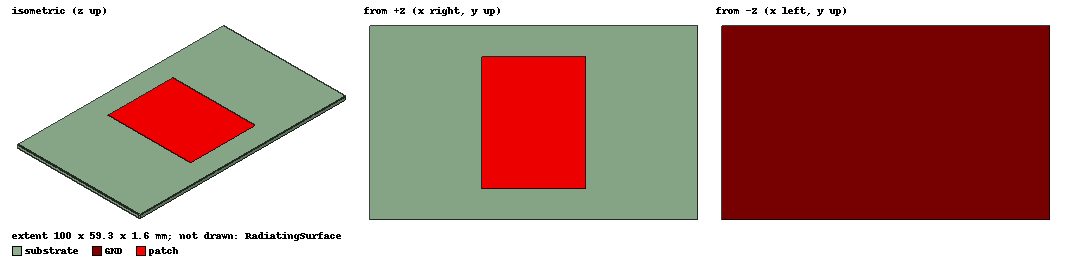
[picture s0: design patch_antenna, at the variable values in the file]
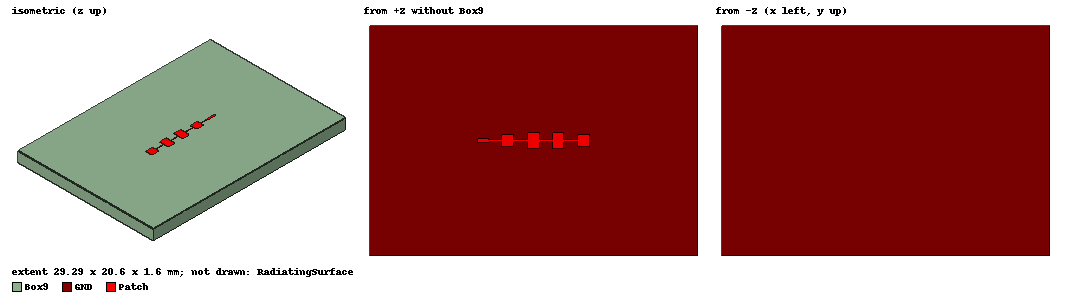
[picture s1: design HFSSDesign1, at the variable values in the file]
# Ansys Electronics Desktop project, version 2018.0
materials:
  vacuum: permittivity=1
  Isola FR408: permittivity=3.66 dielectric_loss_tangent=0.012
  isola FR408 @2GHz: permittivity=3.67 dielectric_loss_tangent=0.012 delta_H_freq=2000000000
  copper: permeability=0.999991 conductivity=58000000
  isola FR408 @100GHz: permittivity=3.72 dielectric_loss_tangent=0.0072 delta_H_freq=100000000000

design patch_antenna (HFSS, DrivenModal, model units mm)
options: open_region{BoundaryType=0 OpFreq=2.45GHz}
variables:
  sub_len_x = 100mm
  sub_width_y = 59.3mm
  sub_h = 1.6mm
  patch_len_x = 31.5mm
  patch_width_y = 40.1mm
  width_50 = 3.475mm
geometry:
  RadiatingSurface [vacuum] = region(absolute_offset=40.816327mm on all sides)
  substrate [isola FR408 @2GHz] = box(corner=(-sub_len_x/2, -sub_width_y/2, 0mm), size=(sub_len_x, sub_width_y, sub_h))
  GND [isola FR408 @2GHz] = object_from(substrate.face(-z))
  patch = rectangle(corner=(-patch_len_x/2, -patch_width_y/2, sub_h), x_size=patch_len_x, y_size=patch_width_y)
  l_port = rectangle(corner=(patch_len_x/2, -width_50/2, 0mm), y_size=width_50, z_size=sub_h)
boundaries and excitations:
  AutoOpen1: Radiation Objects=RadiatingSurface
  FiniteCond1: Finite Conductivity Faces=GND.face UseMaterial Material=copper IsInternal
  FiniteCond2: Finite Conductivity Objects=patch UseMaterial Material=copper IsInternal
  1: Lumped Port Objects=l_port Modes{Mode1{IntLine{l_port.edge(z at corner) at 0.442 along -> l_port.edge(z opposite corner) at 0.558 along} CharImp=Zpi RenormImp=50ohm}} Impedance=156ohm
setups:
  Auto1: HfssDriven Frequency=2.45GHz MaxDeltaS=0.02 MaximumPasses=15 MinimumPasses=1 MinimumConvergedPasses=1 PercentRefinement=30 MeshLink{LinkID=5 PathRelativeTo=TargetProject ApplyMeshOp AdaptPort} BasisOrder=1 PortAccuracy=2
    sweep Sweep: 1GHz to 10GHz, 181 points; Type=Interpolating InterpTolerance=0.5 InterpMaxSolns=250 InterpUsePortImped=false PassivityErrorTolerance=0.0001
    sweep single_point: point 2.45GHz; SaveSingleField Type=Discrete SaveFields
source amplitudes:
  1:1: 1W 0deg
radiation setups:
  3D: Infinite Sphere Theta=0deg..180deg step 2deg Phi=-180deg..180deg step 2deg
  Elevation: Infinite Sphere Theta=-180deg..180deg step 1deg Phi=0deg..90deg step 90deg
  Azimuth: Infinite Sphere Theta=90deg..90deg step 0deg Phi=-180deg..180deg step 1deg
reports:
  S Parameter Plot 1: dB(S(1,1)) vs Freq on Auto1 : Sweep
  Gain Plot 1: dB(GainTotal) vs Phi on Auto1 : LastAdaptive, 3D [Theta=all Freq=2.45GHz]
  Gain Plot 2: dB(GainTotal) vs Phi, Theta on Auto1 : LastAdaptive, 3D [Freq=2.45GHz]

design HFSSDesign1 (HFSS, DrivenModal, model units mm)
options: open_region{BoundaryType=0 OpFreq=78GHz}
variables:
  A_len = 39.37mil
  F2_width = 10.62mil
  sub_h = 1.6mm
  B1 = 47.24mil
  F3_width = 3.94mil
  sub = 0mm
  C1 = 42.52mil
  E1 = 39.38mil
  B2 = 49.21mil
  C2 = 40.95mil
  E2 = 55.12mil
  B3 = 45.27mil
  B4 = 49.21mil
  tot_len_x = 397.24mil
  Width_50 = 3.475mm
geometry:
  Box1 = box(corner=(0mm, -F2_width/2, 0mm), size=(A_len, F2_width, sub_h))
  RadiatingSurface [vacuum] = region(absolute_offset=1.2820513mm on all sides)
  Box2 = box(corner=(A_len, -F3_width/2, 0mm), size=(B1, F3_width, sub_h))
  Box1.unite(Box2)
  Box3 = box(corner=(A_len+B1, -E1/2, 0mm), size=(C1, E1, sub_h))
  Box1.unite(Box3)
  Box4 = box(corner=(A_len+B1+C1, -F3_width/2, 0mm), size=(B2, F3_width, sub_h))
  Box1.unite(Box4)
  Box5 = box(corner=(A_len+B1+C1+B2, -E2/2, 0mm), size=(C2, E2, sub_h))
  Box6 = box(corner=(A_len+B1+C1+B2+C2, -F3_width/2, 0mm), size=(B3, F3_width, sub_h))
  Box5_1 = Box5.duplicate_along_line(step=(C2+B3, 0mm, 0mm), total=2)
  Box7 = box(corner=(A_len+B1+C1+B2+C2+B3+C2, -F3_width/2, 0mm), size=(B4, F3_width, sub_h))
  Box8 = box(corner=(A_len+B1+C1+B2+C2+B3+C2+B4, -E1/2, 0mm), size=(C1, E1, sub_h))
  Box1.unite(Box5, Box5_1, Box8, Box7, Box6)
  Patch = object_from(Box1.face(1 of 6))
  Box1.delete()
  Box9 [isola FR408 @100GHz] = box(corner=(-(12*sub_h)/2, -(E2+12*sub_h)/2, 0mm), size=(tot_len_x+12*sub_h, E2+12*sub_h, sub_h))
  GND = object_from(Box9.face(-z))
  Rectangle1 = rectangle(corner=(0mm, -Width_50/2, 0mm), y_size=Width_50, z_size=sub_h)
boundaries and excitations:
  AutoOpen1: Radiation Objects=RadiatingSurface
  FiniteCond1: Finite Conductivity Faces=Patch.face UseMaterial Material=copper IsInternal
  FiniteCond2: Finite Conductivity Faces=GND.face UseMaterial Material=copper IsInternal
  1: Lumped Port Faces=Rectangle1.face Modes{Mode1{IntLine{middle of Rectangle1.edge(z at corner) -> Rectangle1.edge(z opposite corner) at 0.481 along} CharImp=Zpi RenormImp=50ohm}} Impedance=50ohm
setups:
  Auto1: HfssDriven Frequency=78GHz MaxDeltaS=0.02 MaximumPasses=10 MinimumPasses=1 MinimumConvergedPasses=1 PercentRefinement=30 BasisOrder=1 PortAccuracy=2
    sweep Sparam: 60GHz to 100GHz step 0.05GHz; Type=Interpolating InterpTolerance=0.5 InterpMaxSolns=250 InterpUsePortImped=false PassivityErrorTolerance=0.0001
    sweep Sweep: point 78.5GHz; Type=Discrete
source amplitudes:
  1:1: 1W 0deg
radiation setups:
  3D: Infinite Sphere Theta=0deg..180deg step 2deg Phi=-180deg..180deg step 2deg
  Elevation: Infinite Sphere Theta=-180deg..180deg step 1deg Phi=0deg..90deg step 90deg
  Azimuth: Infinite Sphere Theta=90deg..90deg step 0deg Phi=-180deg..180deg step 1deg
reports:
  S Parameter Plot 1: dB(S(1,1)) vs Freq on Auto1 : Sparam [Freq=70GHz,70.05GHz,70.1GHz,70.15GHz,70.2GHz,70.25GHz,70.3GHz,70.35GHz,70.4GHz,70.45GHz,70.5GHz,70.55GHz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]
  Z Parameter Plot 1: re(Z(1,1)), im(Z(1,1)) vs Freq on Auto1 : Sparam [Freq=70GHz,70.05GHz,70.1GHz,70.15GHz,70.2GHz,70.25GHz,70.3GHz,70.35GHz,70.4GHz,70.45GHz,70.5GHz,70.55GHz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]
  Gain Plot 1: GainTotal vs Phi, Theta on Auto1 : LastAdaptive, 3D [Freq=78GHz]
  Gain Plot 2: DirPhi vs Theta, Phi on Auto1 : LastAdaptive, 3D [Freq=78GHz]
  Gain Plot 3: dB(GainTotal) vs Theta on Auto1 : LastAdaptive, Elevation [Phi=all Freq=78GHz]
